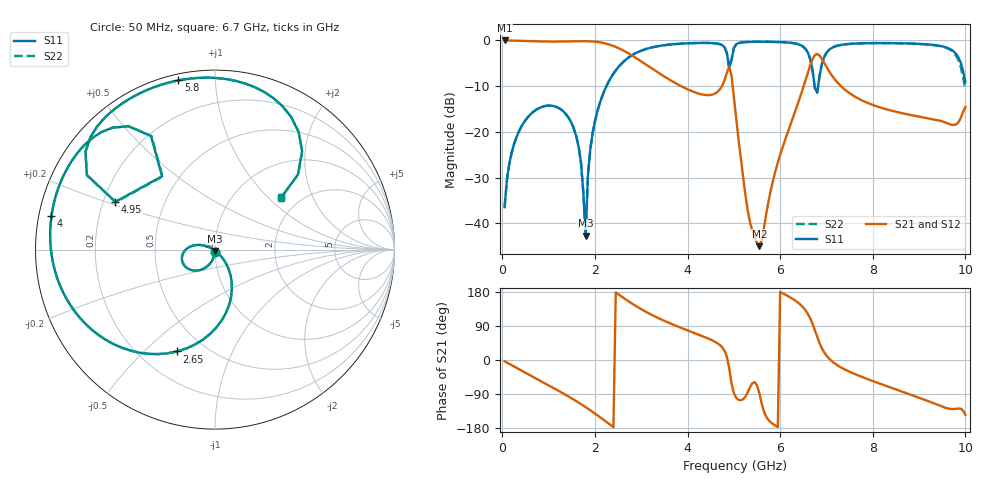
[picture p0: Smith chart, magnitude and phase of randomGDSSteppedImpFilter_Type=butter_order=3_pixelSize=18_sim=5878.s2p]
! freq	dB(S11)	phase(S11)	dB(S12)	phase(S12)
!  dB(S21)	phase(S21)	dB(S22)	phase(S22)
!S-par simulation data
#  GHz  S  DB  R 50
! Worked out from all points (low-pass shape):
!   200 points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, 50 MHz to 10 GHz, reference 50 ohm
!   highest |S21| = -0.01 dB at 50 MHz (marker M1); lowest = -45.0 dB at 5.55 GHz (marker M2)
!   |S21| within 3 dB of the highest: start of sweep to 2.754 GHz; 6.789397 GHz to 6.807629 GHz (18.23 MHz wide, 0.268 % of centre)
!   lowest |S11| = -42.7 dB at 1.8 GHz (marker M3), VSWR 1.01, Z = 50.1 - j0.726 ohm
!   |S11| at or under -10 dB: start of sweep to 2.248 GHz; 6.745 GHz to 6.82 GHz (74.81 MHz wide, 1.1 % of centre)
!   |S22| runs from -42.6 to -0.3 dB; largest |S21 - S12| = 0
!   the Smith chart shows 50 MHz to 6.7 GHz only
!   S11 on the Smith chart (normalised r, x): 50 MHz: 1.00, -0.03; 2.65 GHz: 0.35, -0.63; 4 GHz: 0.04, +0.10; 4.95 GHz: 0.25, +0.21; 5.8 GHz: 0.03, +0.81; 6.7 GHz: 1.61, +1.20
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0.05  -36.46 -93.0  -0.01 -3.4  -0.01 -3.4  -36.46 -93.0
0.3  -21.31 -110.6  -0.06 -20.3  -0.06 -20.3  -21.31 -110.6
0.95  -14.29 -153.8  -0.24 -63.4  -0.24 -63.4  -14.29 -153.8
1.5  -18.18 169.4  -0.19 -101.3  -0.19 -101.3  -18.18 169.4
1.75  -33.27 161.0  -0.16 -120.4  -0.16 -120.4  -33.26 161.4
1.8  -42.71 -81.7  -0.17 -124.4  -0.17 -124.4  -42.58 -82.6
1.85  -29.35 -47.9  -0.18 -128.5  -0.18 -128.5  -29.35 -48.2
2  -17.70 -54.6  -0.28 -141.2  -0.28 -141.2  -17.70 -54.7
2.65  -4.35 -110.4  -2.40 161.1  -2.40 161.1  -4.35 -110.5
3.4  -1.19 -161.9  -7.26 108.9  -7.26 108.9  -1.19 -161.9
4  -0.63 168.3  -10.69 78.2  -10.69 78.2  -0.63 168.2
4.8  -1.52 125.0  -8.66 24.3  -8.66 24.3  -1.53 124.9
4.95  -4.22 154.3  -7.72 -61.7  -7.72 -61.7  -4.25 154.5
5.05  -0.87 142.9  -17.12 -99.6  -17.12 -99.6  -0.87 143.0
5.55  -0.30 113.3  -44.98 -87.3  -44.98 -87.3  -0.30 113.3
5.8  -0.31 102.2  -32.66 -164.7  -32.66 -164.7  -0.31 102.2
6.7  -6.57 38.3  -4.09 95.3  -4.09 95.3  -6.58 38.1
6.9  -5.18 102.0  -4.03 31.3  -4.03 31.3  -5.19 102.1
7.3  -1.00 68.7  -9.86 -18.6  -9.86 -18.6  -1.00 68.7
8.35  -0.59 18.2  -15.21 -71.1  -15.21 -71.1  -0.59 18.1
9.7  -2.06 -64.8  -18.43 -129.4  -18.43 -129.4  -2.24 -67.6
10  -9.14 -153.2  -14.54 -145.1  -14.54 -145.1  -10.67 -179.2
